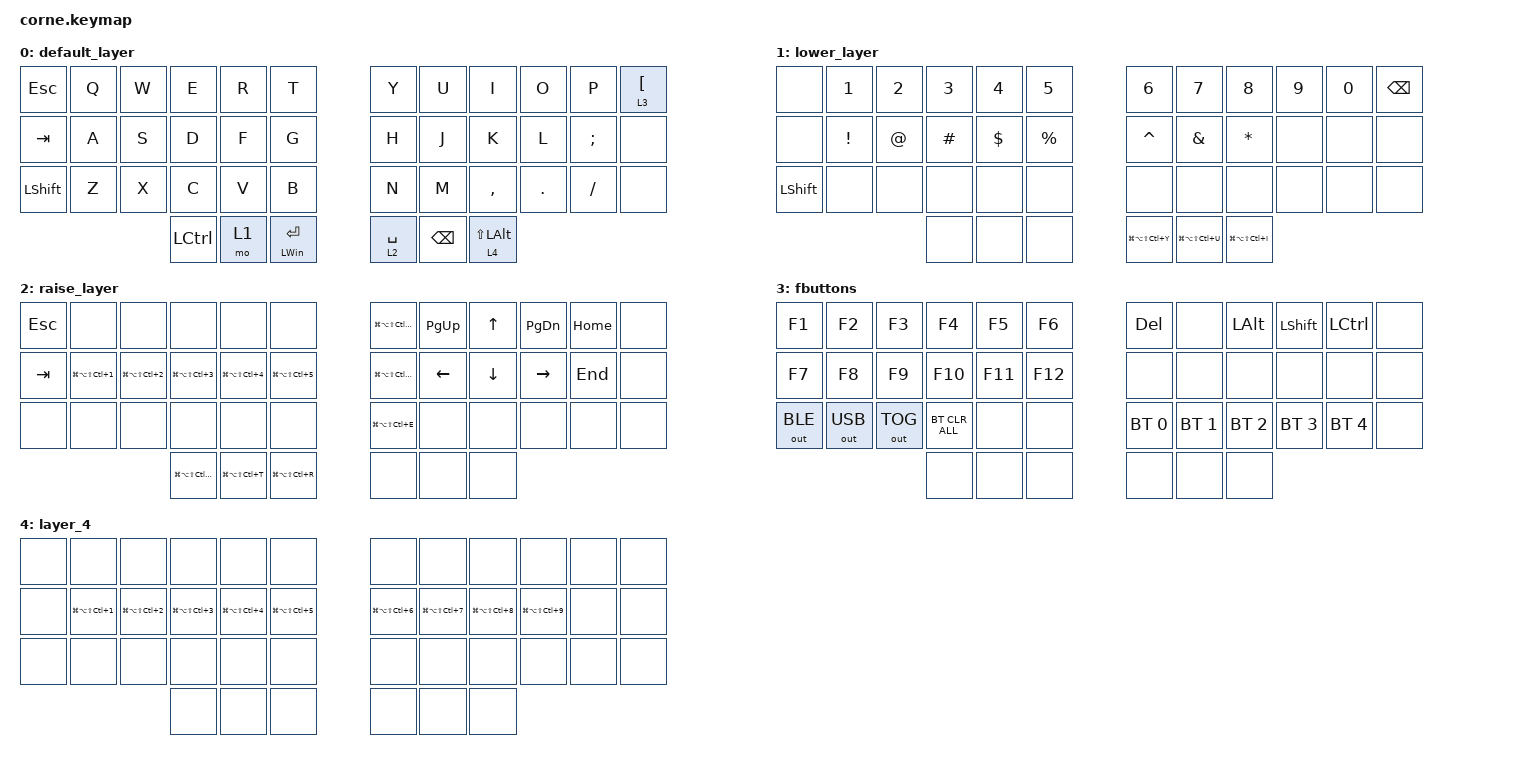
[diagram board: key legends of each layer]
#include <behaviors.dtsi>
#include <dt-bindings/zmk/bt.h>
#include <dt-bindings/zmk/keys.h>
#include <dt-bindings/zmk/outputs.h>

/ {
    macros {
        dot_uni_lin: dot_uni_lin {
            compatible = "zmk,behavior-macro";
            #binding-cells = <0>;
            wait-ms = <30>;
            tap-ms = <30>;
            bindings =
                <&macro_press>,
                <&kp LCTRL &kp LSHFT &kp U>,
                <&macro_release>,
                <&kp LCTRL &kp LSHFT &kp N2 &kp E &kp RET>;
        };

        comma_uni_lin: comma_uni_lin {
            compatible = "zmk,behavior-macro";
            #binding-cells = <0>;
            wait-ms = <30>;
            tap-ms = <30>;
            bindings =
                <&macro_press>,
                <&kp LCTRL &kp LSHFT &kp U>,
                <&macro_release>,
                <&kp LCTRL &kp LSHFT &kp N2 &kp C &kp RET>;
        };

        question_uni_lin: question_uni_lin {
            compatible = "zmk,behavior-macro";
            #binding-cells = <0>;
            wait-ms = <30>;
            tap-ms = <30>;
            bindings =
                <&macro_press>,
                <&kp LCTRL &kp LSHFT &kp U>,
                <&macro_release>,
                <&kp LCTRL &kp LSHFT &kp N3 &kp F &kp RET>;
        };
    };

    combos {
        compatible = "zmk,combos";

        absdefg {
            bindings = <&kp LEFT_PARENTHESIS>;
            key-positions = <4 5>;
        };

        absd123 {
            bindings = <&kp LEFT_BRACKET>;
            key-positions = <16 17>;
        };

        efineivn {
            bindings = <&kp LEFT_BRACE>;
            key-positions = <28 29>;
        };

        gdsibibi13 {
            bindings = <&kp RIGHT_PARENTHESIS>;
            key-positions = <6 7>;
        };

        sdjbb {
            bindings = <&kp RIGHT_BRACKET>;
            key-positions = <19 18>;
        };

        ivb {
            bindings = <&kp RIGHT_BRACE>;
            key-positions = <30 31>;
        };

        dfghjk {
            bindings = <&kp PLUS>;
            key-positions = <3 2>;
        };

        fghjklxcvbn {
            bindings = <&kp MINUS>;
            key-positions = <3 4>;
        };

        fghjkl {
            bindings = <&kp UNDERSCORE>;
            key-positions = <7 8>;
        };

        xcvbnm {
            bindings = <&kp PIPE>;
            key-positions = <8 9>;
        };

        cvbnm {
            bindings = <&kp SINGLE_QUOTE>;
            key-positions = <19 20>;
        };

        cktcgjlyf {
            bindings = <&kp DOUBLE_QUOTES>;
            key-positions = <16 15>;
        };

        dfghjkcvbnm {
            bindings = <&kp TILDE>;
            key-positions = <0 12>;
        };

        ertyui {
            bindings = <&kp SINGLE_QUOTE>;
            key-positions = <12 24>;
        };
    };

    keymap {
        compatible = "zmk,keymap";

        default_layer {
            bindings = <
&kp ESC    &kp Q  &kp W  &kp E             &kp R  &kp T                 &kp Y        &kp U          &kp I               &kp O    &kp P     &lt 3 LEFT_BRACKET
&kp TAB    &kp A  &kp S  &kp D             &kp F  &kp G                 &kp H        &kp J          &kp K               &kp L    &kp SEMI  &none
&kp LSHFT  &kp Z  &kp X  &kp C             &kp V  &kp B                 &kp N        &kp M          &kp COMMA           &kp DOT  &kp FSLH  &none
                         &kp LEFT_CONTROL  &mo 1  &mt LEFT_WIN ENTER    &lt 2 SPACE  &kp BACKSPACE  &lt 4 LS(LEFT_ALT)
            >;
        };

        lower_layer {
            bindings = <
&none      &kp N1           &kp N2       &kp N3    &kp N4      &kp N5         &kp N6                 &kp N7                 &kp N8                 &kp N9  &kp N0  &kp BSPC
&none      &kp EXCLAMATION  &kp AT_SIGN  &kp HASH  &kp DOLLAR  &kp PERCENT    &kp CARET              &kp AMPERSAND          &kp ASTERISK           &none   &none   &none
&kp LSHFT  &none            &none        &none     &none       &none          &none                  &none                  &none                  &none   &none   &none
                                         &none     &none       &none          &kp LG(LA(LS(LC(Y))))  &kp LG(LA(LS(LC(U))))  &kp LG(LA(LS(LC(I))))
            >;
        };

        raise_layer {
            bindings = <
&kp ESCAPE  &none                         &none                         &none                         &none                         &none                           &kp LG(LA(LS(LC(Q))))  &kp PAGE_UP     &kp UP_ARROW    &kp PAGE_DOWN    &kp HOME  &none
&kp TAB     &kp LG(LA(LS(LC(NUMBER_1))))  &kp LG(LA(LS(LC(NUMBER_2))))  &kp LG(LA(LS(LC(NUMBER_3))))  &kp LG(LA(LS(LC(NUMBER_4))))  &kp LG(LA(LS(LC(NUMBER_5))))    &kp LG(LA(LS(LC(W))))  &kp LEFT_ARROW  &kp DOWN_ARROW  &kp RIGHT_ARROW  &kp END   &none
&none       &none                         &none                         &none                         &none                         &none                           &kp LG(LA(LS(LC(E))))  &none           &none           &none            &none     &none
                                                                        &kp LG(LA(LS(LC(O))))         &kp LG(LA(LS(LC(T))))         &kp LG(LA(LS(LC(R))))           &none                  &none           &none
            >;
        };

        fbuttons {
            bindings = <
&kp F1        &kp F2        &kp F3        &kp F4          &kp F5   &kp F6     &kp DELETE    &none         &kp LEFT_ALT  &kp LEFT_SHIFT  &kp LEFT_CONTROL  &none
&kp F7        &kp F8        &kp F9        &kp F10         &kp F11  &kp F12    &none         &none         &none         &none           &none             &none
&out OUT_BLE  &out OUT_USB  &out OUT_TOG  &bt BT_CLR_ALL  &none    &none      &bt BT_SEL 0  &bt BT_SEL 1  &bt BT_SEL 2  &bt BT_SEL 3    &bt BT_SEL 4      &none
                                          &none           &none    &none      &none         &none         &none
            >;
        };

        layer_4 {
            bindings = <
&none  &none                         &none                         &none                         &none                         &none                           &none                         &none                         &none                         &none                         &none  &none
&none  &kp LG(LA(LS(LC(NUMBER_1))))  &kp LG(LA(LS(LC(NUMBER_2))))  &kp LG(LA(LS(LC(NUMBER_3))))  &kp LG(LA(LS(LC(NUMBER_4))))  &kp LG(LA(LS(LC(NUMBER_5))))    &kp LG(LA(LS(LC(NUMBER_6))))  &kp LG(LA(LS(LC(NUMBER_7))))  &kp LG(LA(LS(LC(NUMBER_8))))  &kp LG(LA(LS(LC(NUMBER_9))))  &none  &none
&none  &none                         &none                         &none                         &none                         &none                           &none                         &none                         &none                         &none                         &none  &none
                                                                   &none                         &none                         &none                           &none                         &none                         &none
            >;
        };
    };
};
